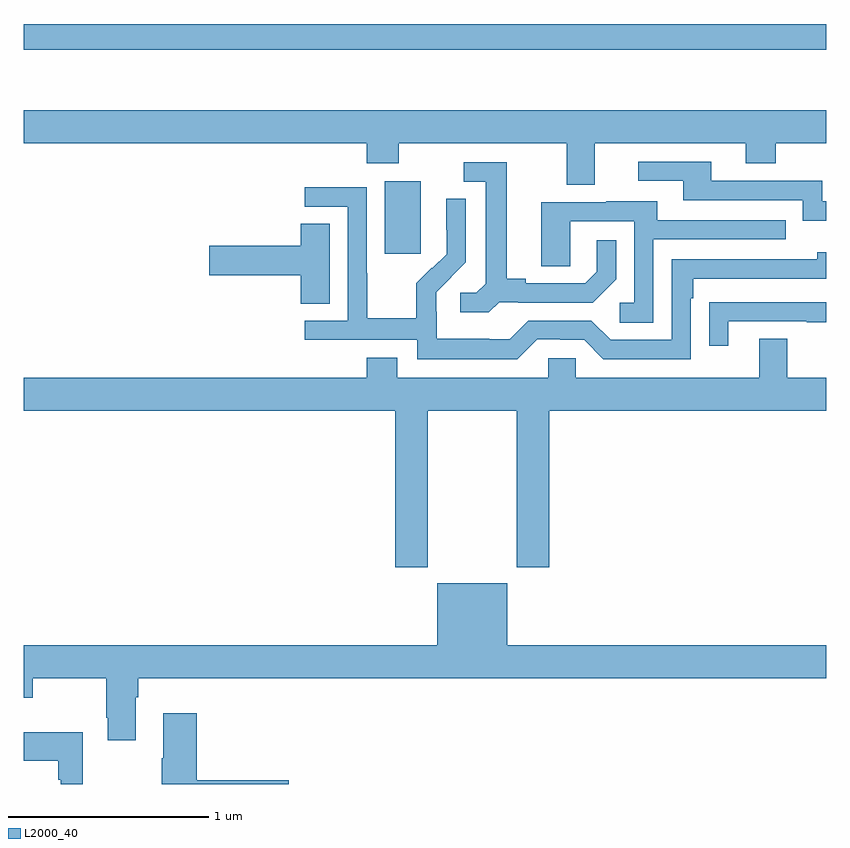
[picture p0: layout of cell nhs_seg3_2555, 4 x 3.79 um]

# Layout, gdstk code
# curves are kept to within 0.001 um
import gdstk
lib = gdstk.Library(unit=1e-6, precision=1e-09)
def R(c, l, rs):  # rectangles x0, y0, x1, y1
    for r in rs: c.add(gdstk.rectangle(r[:2], r[2:], *l))
def P(c, l, *ps):  # polygons
    for p in ps: c.add(gdstk.Polygon(p, *l))
L2000_40 = (2000, 40)

nhs_seg3_2555 = lib.new_cell('nhs_seg3_2555')
R(nhs_seg3_2555, L2000_40, [(244.799,691.041,244.978,691.402), (243,692.058,247,692.186)])
P(nhs_seg3_2555, L2000_40, [(245.845,691.592),(246.599,691.592),(246.599,691.493),(246.747,691.493),(246.747,691.592),(247,691.592),(247,691.756),(243,691.756),(243,691.592),(244.709,691.592),(244.709,691.493),(244.869,691.493),(244.869,691.592),(245.705,691.592),(245.705,691.384),(245.845,691.384)],
  [(247,691.302),(246.978,691.302),(246.978,691.404),(246.427,691.404),(246.427,691.5),(246.063,691.5),(246.063,691.404),(246.287,691.404),(246.287,691.308),(246.882,691.308),(246.882,691.205),(247,691.205)],
  [(245.37,690.801),(245.464,690.801),(245.464,690.798),(245.836,690.798),(245.952,690.914),(245.952,691.108),(245.855,691.108),(245.855,690.951),(245.798,690.894),(245.503,690.894),(245.503,690.917),(245.407,690.917),(245.407,691.497),(245.193,691.497),(245.193,691.401),(245.303,691.401),(245.303,690.893),(245.256,690.846),(245.175,690.846),(245.175,690.749),(245.318,690.749)],
  [(245.559,690.615),(245.675,690.615),(245.675,690.612),(245.793,690.612),(245.889,690.516),(246.324,690.516),(246.324,690.821),(246.337,690.821),(246.337,690.918),(247,690.918),(247,691.048),(246.953,691.048),(246.953,691.014),(246.228,691.014),(246.228,690.612),(245.925,690.612),(245.829,690.708),(245.514,690.708),(245.421,690.615),(245.321,690.615),(245.321,690.619),(245.058,690.619),(245.058,690.753),(245.056,690.753),(245.056,690.85),(245.202,690.998),(245.202,691.316),(245.106,691.316),(245.106,691.162),(245.108,691.162),(245.108,691.04),(245.037,690.969),(245.034,690.972),(244.957,690.895),(244.957,690.721),(244.713,690.721),(244.713,690.944),(244.71,690.944),(244.71,691.374),(244.401,691.374),(244.401,691.275),(244.614,691.275),(244.614,690.708),(244.401,690.708),(244.401,690.612),(244.962,690.612),(244.962,690.515),(245.459,690.515)],
  [(246.138,691.113),(246.797,691.113),(246.797,691.209),(246.157,691.209),(246.157,691.303),(245.903,691.303),(245.903,691.299),(245.579,691.299),(245.579,690.979),(245.724,690.979),(245.724,691.203),(246.042,691.203),(246.042,690.798),(245.97,690.798),(245.97,690.697),(246.138,690.697)],
  [(244.525,691.19),(244.382,691.19),(244.382,691.082),(243.924,691.082),(243.924,690.935),(244.382,690.935),(244.382,690.793),(244.525,690.793)],
  [(246.511,690.705),(246.901,690.705),(246.901,690.7),(247,690.7),(247,690.801),(246.517,690.801),(246.517,690.8),(246.415,690.8),(246.415,690.582),(246.511,690.582)],
  [(245.013,690.26),(245.458,690.26),(245.458,689.481),(245.618,689.481),(245.618,690.26),(247,690.26),(247,690.424),(246.805,690.424),(246.805,690.619),(246.665,690.619),(246.665,690.424),(245.751,690.424),(245.751,690.522),(245.613,690.522),(245.613,690.424),(244.861,690.424),(244.861,690.523),(244.709,690.523),(244.709,690.424),(243,690.424),(243,690.26),(244.853,690.26),(244.853,689.481),(245.013,689.481)],
  [(243.559,688.832),(243.572,688.832),(243.572,688.928),(247,688.928),(247,689.092),(245.41,689.092),(245.41,689.401),(245.06,689.401),(245.06,689.092),(243,689.092),(243,688.829),(243.045,688.829),(243.045,688.928),(243.412,688.928),(243.412,688.729),(243.419,688.729),(243.419,688.617),(243.559,688.617)],
  [(244.321,688.418),(243.863,688.418),(243.863,688.753),(243.695,688.753),(243.695,688.529),(243.688,688.529),(243.688,688.4),(244.321,688.4)],
  [(243.295,688.657),(243,688.657),(243,688.517),(243.174,688.517),(243.174,688.421),(243.186,688.421),(243.186,688.4),(243.295,688.4)])

lib.write_gds('nhs_seg3_2555.gds')
